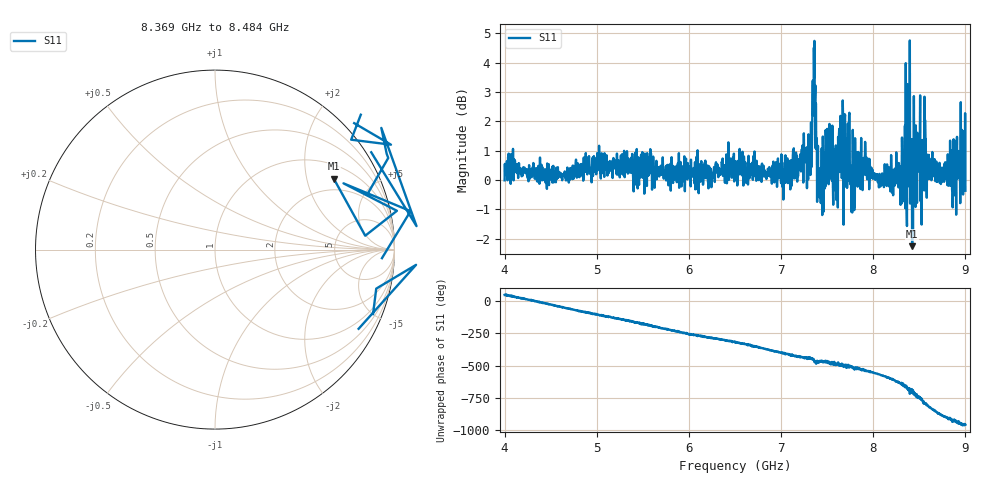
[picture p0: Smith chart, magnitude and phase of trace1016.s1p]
! Created with skrf 1.8.0 (http://scikit-rf.org).
# Hz S RI R 50.0
!freq ReS11 ImS11
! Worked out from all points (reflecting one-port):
!   1601 points, 4 GHz to 9 GHz, reference 50 ohm
!   lowest |S11| = -2.3 dB at 8.422 GHz (marker M1), VSWR 7.73, Z = 74.8 + j146 ohm
!   phase of S11 starts at 51 deg and turns -1012 deg over the sweep
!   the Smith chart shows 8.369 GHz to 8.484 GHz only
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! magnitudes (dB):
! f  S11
! 4 GHz  0.0
! 4.066 GHz  -0.1
! 4.625 GHz  0.0
! 5.25 GHz  0.1
! 5.875 GHz  0.2
! 6.5 GHz  0.4
! 7.125 GHz  0.5
! 7.297 GHz  1.6
! 7.356 GHz  4.5
! 7.406 GHz  -0.2
! 7.422 GHz  -0.6
! 7.509 GHz  0.4
! 7.591 GHz  0.8
! 7.647 GHz  1.7
! 7.75 GHz  0.0
! 7.775 GHz  0.8
! 7.891 GHz  0.5
! 8.281 GHz  0.2
! 8.375 GHz  2.1
! 8.394 GHz  0.4
! 8.412 GHz  1.1
! 8.422 GHz  -2.3
! 8.447 GHz  1.5
! 8.459 GHz  -0.9
! 8.553 GHz  -0.4
! 8.747 GHz  0.0
! 8.972 GHz  -0.2
! 9 GHz  -0.4
